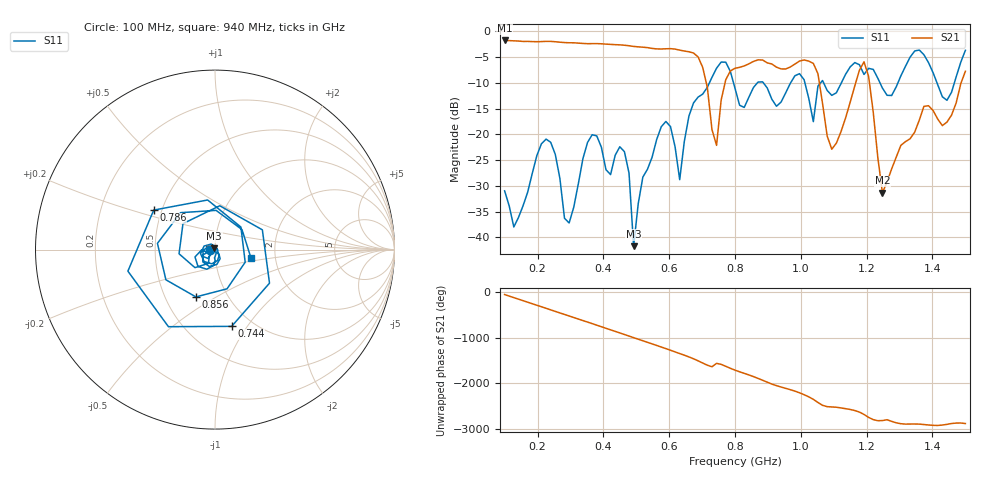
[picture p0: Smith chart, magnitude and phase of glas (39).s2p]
! NanoVNA-App
! Date: 2025-09-25 15:55:46
! Start: 100MHz Stop: 1,5GHz Points: 101
! S-Parameter data: F S11 S21 S12 S22
# Hz S RI R 50
!  Frequency  S11_Real  S11_Imag  S21_Real  S21_Imag  S12_Real  S12_Imag  S22_Real  S22_Imag
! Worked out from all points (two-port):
!   101 points, 100 MHz to 1.5 GHz, reference 50 ohm
!   highest |S21| = -1.80 dB at 100 MHz (marker M1); lowest = -31.3 dB at 1.248 GHz (marker M2)
!   |S21| within 3 dB of the highest: start of sweep to 684.3 MHz
!   lowest |S11| = -41.7 dB at 492 MHz (marker M3), VSWR 1.02, Z = 49.5 + j0.623 ohm
!   |S11| at or under -10 dB: start of sweep to 722.4 MHz; 795.4 MHz to 868.2 MHz (72.85 MHz wide, 8.76 % of centre); 886 MHz to 969.1 MHz (83.11 MHz wide, 8.96 % of centre) (the widest 3 of 7)
!   S12 and S22 are empty: the file has one direction only
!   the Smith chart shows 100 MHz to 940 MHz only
!   S11 on the Smith chart (normalised r, x): 100 MHz: 0.95, -0.01; 744 MHz: 0.80, -0.85; 786 MHz: 0.45, +0.24; 856 MHz: 0.71, -0.41; 940 MHz: 1.49, -0.14
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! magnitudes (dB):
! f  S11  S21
! 100 MHz  -31.0  -1.8
! 128 MHz  -38.0  -1.9
! 226 MHz  -20.9  -2.0
! 296 MHz  -37.2  -2.2
! 338 MHz  -24.7  -2.4
! 464 MHz  -23.4  -2.7
! 492 MHz  -41.7  -3.0
! 576 MHz  -18.5  -3.5
! 632 MHz  -28.8  -3.7
! 702 MHz  -12.2  -7.0
! 744 MHz  -7.2  -22.1
! 786 MHz  -7.8  -7.7
! 800 MHz  -11.1  -7.2
! 856 MHz  -10.9  -5.9
! 940 MHz  -13.7  -7.3
! 996 MHz  -8.2  -5.8
! 1.038 GHz  -17.5  -6.2
! 1.094 GHz  -12.4  -22.9
! 1.192 GHz  -8.4  -5.9
! 1.248 GHz  -11.0  -31.3
! 1.276 GHz  -12.5  -26.7
! 1.5 GHz  -3.7  -7.8
